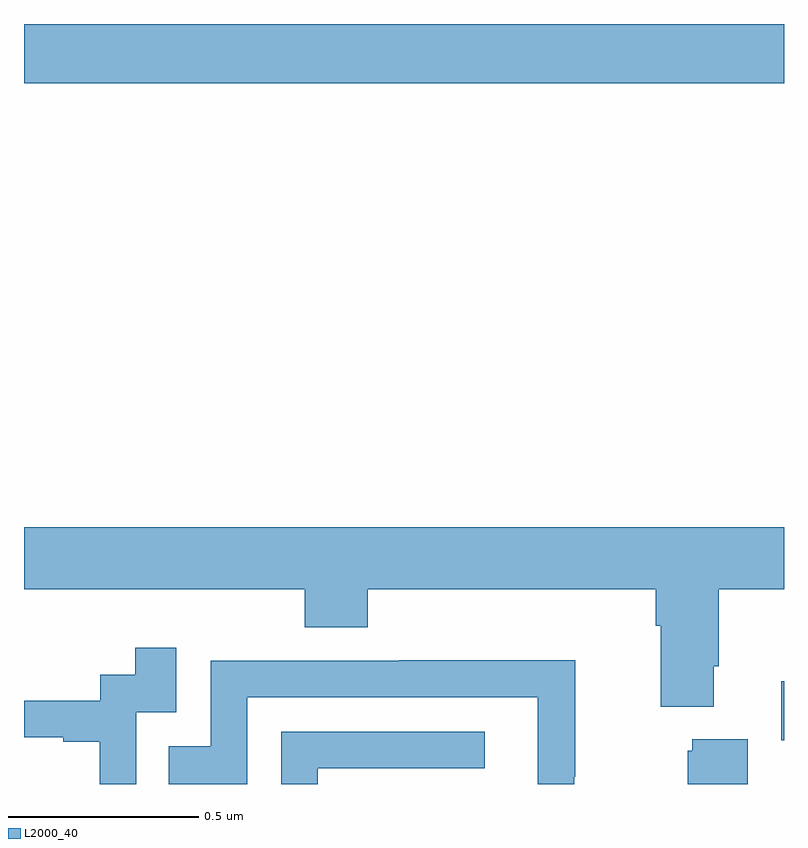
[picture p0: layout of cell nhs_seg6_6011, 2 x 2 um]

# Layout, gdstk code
import gdstk
lib = gdstk.Library(unit=1e-6, precision=1e-09)
def R(c, l, rs):  # rectangles x0, y0, x1, y1
    for r in rs: c.add(gdstk.rectangle(r[:2], r[2:], *l))
def P(c, l, *ps):  # polygons
    for p in ps: c.add(gdstk.Polygon(p, *l))
L2000_40 = (2000, 40)

nhs_seg6_6011 = lib.new_cell('nhs_seg6_6011')
R(nhs_seg6_6011, L2000_40, [(191.993,937.615,192,937.771), (190,939.344,192,939.5)])
P(nhs_seg6_6011, L2000_40, [(191.815,937.81),(191.828,937.81),(191.828,938.012),(192,938.012),(192,938.176),(190,938.176),(190,938.012),(190.739,938.012),(190.739,937.913),(190.904,937.913),(190.904,938.012),(191.663,938.012),(191.663,937.916),(191.675,937.916),(191.675,937.703),(191.815,937.703)],
  [(190.296,937.689),(190.401,937.689),(190.401,937.858),(190.293,937.858),(190.293,937.788),(190.2,937.788),(190.2,937.719),(190,937.719),(190,937.623),(190.103,937.623),(190.103,937.611),(190.199,937.611),(190.199,937.5),(190.296,937.5)],
  [(190.587,937.728),(191.352,937.728),(191.352,937.5),(191.448,937.5),(191.448,937.519),(191.451,937.519),(191.451,937.826),(190.987,937.826),(190.987,937.824),(190.491,937.824),(190.491,937.599),(190.381,937.599),(190.381,937.5),(190.587,937.5)],
  [(190.773,937.542),(191.212,937.542),(191.212,937.638),(190.677,937.638),(190.677,937.5),(190.773,937.5)],
  [(191.905,937.618),(191.759,937.618),(191.759,937.587),(191.747,937.587),(191.747,937.5),(191.905,937.5)])

lib.write_gds('nhs_seg6_6011.gds')
